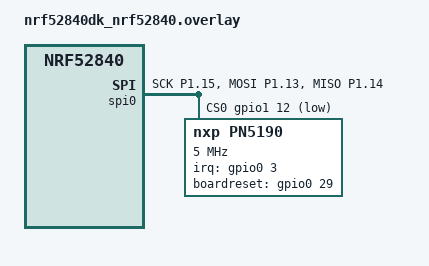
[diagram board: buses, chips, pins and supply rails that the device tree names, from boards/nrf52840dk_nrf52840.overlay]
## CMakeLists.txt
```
#
# Copyright (c) 2021 Nordic Semiconductor ASA
#
# SPDX-License-Identifier: LicenseRef-Nordic-5-Clause
#

cmake_minimum_required(VERSION 3.20.0)

find_package(Zephyr REQUIRED HINTS $ENV{ZEPHYR_BASE})

project(pn5190_nfcreader)
zephyr_include_directories(
   src/inc_example
   src/NxpNfcRdLib/comps/phacDiscLoop/src/Sw
   src/NxpNfcRdLib/intfs
   src/NxpNfcRdLib/types
   src/Platform
   src/RTOS
   src/NxpNfcRdLib/comps/phpalI14443p3a/src/Sw
)
ADD_DEFINITIONS(-DPHDRIVER_nRF52840_PNEV5190B_BOARD)
ADD_DEFINITIONS(-DPH_OSAL_NULLOS)
ADD_DEFINITIONS(-DDEBUG)


FILE(GLOB drv_sources src/*.c
src/NxpNfcRdLib/comps/phacDiscLoop/src/*.c
src/Platform/*.c
src/RTOS/*.c
src/NxpNfcRdLib/comps/phNfcLib/src/*.c
src/NxpNfcRdLib/comps/phKeyStore/src/Sw/*.c
src/NxpNfcRdLib/comps/phhalHw/src/Pn5190/*.c
src/NxpNfcRdLib/comps/phpalI14443p3a/src/Sw/*.c
src/NxpNfcRdLib/comps/phalFelica/src/Sw/*.c
src/NxpNfcRdLib/comps/phacDiscLoop/src/Sw/*.c
src/NxpNfcRdLib/comps/phCryptoSym/src/Sw/*.c
src/NxpNfcRdLib/comps/phpalI14443p3b/src/Sw/*.c
src/NxpNfcRdLib/comps/phalMfc/src/Sw/*.c
src/NxpNfcRdLib/comps//phKeyStore/src/*.c
src/NxpNfcRdLib/comps//phTMIUtils/src/*.c
src/NxpNfcRdLib/comps/phpalI14443p4a/src/Sw/*.c
src/NxpNfcRdLib/comps/phalMful/src/Sw/*.c 
src/NxpNfcRdLib/comps/phCryptoRng/src/Sw/*.c 
src/NxpNfcRdLib/comps/phpalI14443p4/src/Sw/*.c 
src/NxpNfcRdLib/comps/phalMfdf/src/Sw/*.c 
src/NxpNfcRdLib/comps/phCryptoRng/src/*.c 
src/NxpNfcRdLib/comps/phpalMifare/src/Sw/*.c
src/NxpNfcRdLib/comps/phalVca/src/Sw/*.c
src/NxpNfcRdLib/comps/phCryptoSym/src/*.c
src/NxpNfcRdLib/comps/phalMfdfEVx/src/Sw/*.c
src/NxpNfcRdLib/comps/phpalFelica/src/Sw/*.c
src/NxpNfcRdLib/comps/phalVca/src/*.c
src/NxpNfcRdLib/comps/phpalSli15693/src/Sw/*.c
src/NxpNfcRdLib/comps/phalMfdfLight/src/Sw/*.c
src/NxpNfcRdLib/comps/phpalI18000p3m3/src/Sw/*.c
src/NxpNfcRdLib/comps/phalMfpEVx/src/Sw/*.c
src/NxpNfcRdLib/comps/phpalI18092mPI/src/Sw/*.c
src/NxpNfcRdLib/comps/phpalI14443p4mC/src/Sw/*.c
src/NxpNfcRdLib/comps/phpalI18092mT/src/Sw/*.c
src/NxpNfcRdLib/comps/phalMfNtag42XDna/src/Sw/*.c
src/NxpNfcRdLib/comps/phalT1T/src/Sw/*.c
src/NxpNfcRdLib/comps/phalICode/src/Sw/*.c
src/NxpNfcRdLib/comps/phalTop/src/Sw/*.c
src/NxpNfcRdLib/comps/phalI18000p3m3/src/Sw/*.c
src/NxpNfcRdLib/comps/phTools/src/*.c
)




#set(drv_sources ${drv_sources1} ${drv_sources2} ${drv_sources3} ${drv_sources4})
target_sources(app PRIVATE
        ${drv_sources})
```

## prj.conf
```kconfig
CONFIG_MAIN_STACK_SIZE=4096
CONFIG_HEAP_MEM_POOL_SIZE=4096


CONFIG_EVENTS=y
CONFIG_SPI=y
```

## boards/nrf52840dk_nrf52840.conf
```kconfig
# Using hardware crypto accelerator
CONFIG_PSA_CRYPTO_DRIVER_OBERON=n
CONFIG_PSA_CRYPTO_DRIVER_CC3XX=n
```

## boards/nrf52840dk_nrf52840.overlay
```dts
/* Disable unused peripherals to reduce power consumption */
&adc {
	status = "disabled";
};
&uart1 {
	status = "disabled";
};
&i2c0 {
	status = "disabled";
};
&pwm0 {
	status = "disabled";
};
&spi0 {
	compatible = "nordic,nrf-spi";
	status = "okay";
	cs-gpios = <&gpio1 12 GPIO_ACTIVE_LOW>;

	pinctrl-0 = <&spi0_default_alt>;
	pinctrl-1 = <&spi0_sleep_alt>;
	pinctrl-names = "default", "sleep";
	pn5190@0 {
		compatible = "nxp,pn5190";
		reg = <0>;
		spi-max-frequency = <5000000>;
		irq-gpios = <&gpio0 3 (GPIO_ACTIVE_HIGH|GPIO_PULL_UP)>;
		boardreset-gpios = <&gpio0 29 (GPIO_ACTIVE_HIGH|GPIO_PULL_UP)>;
	};
};
&spi1 {
	status = "disabled";
};
&spi3 {
	status = "disabled";
};
&usbd {
	status = "disabled";
};
&pinctrl {
	spi0_default_alt: spi0_default_alt {
		group1 {
			psels = <NRF_PSEL(SPIM_SCK, 1, 15)>,
				<NRF_PSEL(SPIM_MOSI, 1, 13)>,
				<NRF_PSEL(SPIM_MISO, 1, 14)>;
		};
	};

	spi0_sleep_alt: spi0_sleep_alt {
		group1 {
			psels = <NRF_PSEL(SPIM_SCK, 1, 15)>,
				<NRF_PSEL(SPIM_MOSI, 1, 13)>,
				<NRF_PSEL(SPIM_MISO, 1, 14)>;
			low-power-enable;
		};
	};
};
```

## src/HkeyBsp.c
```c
/*****************************************************************************
Copyright (C) 2017-2024, U-Tec.com. All rights reserved
File name: HkeyBsp.c
Description: write here the file function
Author: Joe<joe@u-tec.com>
Date: 04/05/24 11:00:16
*****************************************************************************/

#include <stdint.h>
#include <phDriver.h>
#include "phApp_Init.h"
#include <unistd.h>

#include <ph_Status.h>
#include <phhalHw.h>
#include <phpalI14443p3a.h>
#include <ph_RefDefs.h>
#include <phNxpNfcRdLib_Config.h>
//linux 用反斜杠
#include "phpalI14443p3a_Sw_Int.h"
#include "HKeyBsp.h"
// #include "NxpNfcRdLib\comps\phpalI14443p3a\src\Sw\phpalI14443p3a_Sw_Int.h"
/*=============================================================================
 Defines
 =============================================================================
*/

/*=============================================================================
 Globals
 =============================================================================
*/

/*=============================================================================
 Externs
 =============================================================================
*/
extern void *pspalI14443p4;

/* =============================================================================
 HkeyBsp.c module APIs
 =============================================================================
*/
extern bool DetectIsCpuCard(void);
#define PH_ERR_PN5190_SUCCESS                                ((phStatus_t)0x0000U) 
#define PHHAL_HW_PN5190_INSTR_TRANSMIT_RF_DATA                              0x08U  
typedef struct
{
    uint8_t bCmd;               /**< In_Param - Command code*/
    uint8_t bQueue;             /**< In_Param - Flag to denote that Command is queuable*/
    uint8_t * pTxDataBuff;      /**< In_Param - Pointer to the Tx-Buffer*/
    uint16_t wTxDataLength;     /**< In_Param - No of Bytes in Tx-Buffer */
    uint8_t * pAddnData;        /**< In_Param - Points to additional data to be appended to Tx_Buffer;
                                     applicable for some commands like write eeprom, Exchange_RF_Data*/
    uint16_t wAddnDataLen;      /**< In_Param - Length of the additional data */
    uint8_t ** ppRxBuffer;      /**< InOut_Param - Double pointer to send/retrieve, pointer to RxData in RxBuffer.
                                     For RF data and Read_EEprom response, the pointer to buffer in which data is
                                     to be sent is sent. */
    uint16_t * pRxLength;       /**< Out_Param - Pointer to Rx-length*/
}phhalHw_InstMngr_CmdParams_t;

#define SEND                    0x01U
#define QUEUE                   0x02U
#define QUEUE_N_SEND            0x03U
#define PHHAL_HW_PN5190_INSTR_EXCHANGE_RF_DATA                              0x0AU  /**< Read RX data from internal RF reception buffer. */
#define PHHAL_HW_PN5190_INT_SPI_WRITE                   0x7FU /**< Direction Bit0 -> 0 - Write; 1 - Read. */
phStatus_t phhalHw_Pn5190_Send(
    phhalHw_Pn5190_DataParams_t *pDataParams,       /**< [In] Pointer to Pn5190 Hal layer's parameter structure. */
    uint8_t * pTxBuffer,                            /**< [In] Pointer to Buffer containing data to be sent. */
    uint16_t wTxLength,                             /**< [In] Number of Byte to be sent from the Buffer. */
    uint8_t bCheckIRQ                               /**< [In] Check IRQ status before sending Command to Reader. */
    );

phStatus_t phhalHw_Pn5190_WaitIrq(
    phhalHw_Pn5190_DataParams_t * pDataParams,            /**<[In] DataParameter representing this layer. */
    uint32_t * pReceivedEvents                            /**<[InOut] Return received Events. */
    );
phStatus_t phOsal_EventClear(
    phOsal_Event_t * eventHandle,
    phOsal_EventOpt_t options,
    phOsal_EventBits_t FlagsToClear,
    phOsal_EventBits_t *pCurrFlags);

phStatus_t phhalHw_Pn5190_InstMngr_ReadRsp(
    phhalHw_Pn5190_DataParams_t *pDataParams,       /**< [In] Pointer to Pn5190 Hal layer's parameter structure. */
    phhalHw_InstMngr_CmdParams_t *pCmdParams        /**< [In] Pointer to Current Command Under-Process. */
    );


phStatus_t  phhalHw_Pn5190_InstMngr_Transceive_fast(phhalHw_Pn5190_DataParams_t *pDataParams,
        phhalHw_InstMngr_CmdParams_t *pCmdParams, uint16_t wTlv_Length)
{
    phStatus_t  PH_MEMLOC_REM status = PH_ERR_SUCCESS;
    phOsal_EventBits_t PH_MEMLOC_REM dwReceivedEvents;
    uint8_t     PH_MEMLOC_REM bAbortCMDExe = 0;

    uint16_t    PH_MEMLOC_REM wBuffrdDataLength = 0U;
    uint16_t    PH_MEMLOC_REM wBufferSize = 0U;
    uint8_t     PH_MEMLOC_REM * pTxBuffer = NULL;

    pTxBuffer = pDataParams->pTxBuffer;
    wBufferSize = pDataParams->wTxBufSize;
      

    /* Return stored length. */
    wBuffrdDataLength = pDataParams->wTxBufLen;


    pTxBuffer--;
    *pTxBuffer = PHHAL_HW_PN5190_INT_SPI_WRITE;

    phhalHw_Pn5190_Send(pDataParams, pTxBuffer, (wBuffrdDataLength + 1), PH_ON);
        //printf("Sbuf\n");
    // DEBUG_PRINTF("phhalHw_Pn5190_InstMngr_Transceive_fast 222222222222222");



    // status = phhalHw_Pn5190_InstMngr_SendBuffdData(pDataParams);

    /*Reset the TxBuffer*/
    pDataParams->wTxBufLen = 0U;
    pDataParams->wTxBufStartPos = 0U;

    status = phhalHw_Pn5190_WaitIrq(pDataParams, &dwReceivedEvents);
    phOsal_EventClear(&pDataParams->HwEventObj.EventHandle, E_OS_EVENT_OPT_NONE, E_PH_OSAL_EVT_RF, NULL);
    status = phhalHw_Pn5190_InstMngr_ReadRsp(pDataParams, pCmdParams);
    return status;
}


phStatus_t phhalHw_Pn5190_InstMngr_Exchange_fast(phhalHw_Pn5190_DataParams_t *pDataParams,
        phhalHw_InstMngr_CmdParams_t *pCmdParams, uint8_t bExchAction)
{

    phStatus_t  PH_MEMLOC_REM  status = PH_ERR_SUCCESS;
    uint16_t    PH_MEMLOC_REM  wSnglTLVLenght = 0U;
    uint16_t  PH_MEMLOC_REM  wTxBufferLen = 0U;
    uint16_t  PH_MEMLOC_REM  wTxBufferSize = 0U;
    uint8_t   PH_MEMLOC_REM  * pTxBuffer = NULL;

    uint8_t   PH_MEMLOC_REM  bTxBuffOffset = 0U;
    uint8_t   PH_MEMLOC_REM  bCmd = pCmdParams->bCmd;
    uint8_t   PH_MEMLOC_REM * pData = pCmdParams->pTxDataBuff;
    uint16_t  PH_MEMLOC_REM  wDataLength = pCmdParams->wTxDataLength;

   

    pTxBuffer = pDataParams->pTxBuffer;
    wTxBufferSize = pDataParams->wTxBufSize;
      

    /* Return stored length. */
    wTxBufferLen = pDataParams->wTxBufLen;

    pTxBuffer[pDataParams->wTxBufStartPos++] = bCmd; /* Reserved 0th Location of buffer for Command code */

    bTxBuffOffset = 2;

    //DEBUG_PRINTF("phhalHw_Pn5190_InstMngr_Exchange_fast 444444444444");
    (void)memcpy(&pTxBuffer[pDataParams->wTxBufStartPos + bTxBuffOffset],
                pCmdParams->pAddnData, pCmdParams->wAddnDataLen);

    pDataParams->wTxFwDataLen =  pCmdParams->wAddnDataLen;

    //DEBUG_PRINTF("phhalHw_Pn5190_InstMngr_Exchange_fast 5555555555555");
    (void)memcpy(&pTxBuffer[pDataParams->wTxBufStartPos + pDataParams->wTxBufLen
                            + pDataParams->wTxFwDataLen + bTxBuffOffset],
                pData, wDataLength);

    pDataParams->wTxBufLen += wDataLength;
        

    pDataParams->wTxBufLen += pDataParams->wTxFwDataLen;
    /*In the last we are updating the length*/
    pTxBuffer[pDataParams->wTxBufStartPos++] = ((pDataParams->wTxBufLen & 0xff00U) >> 8);

    pTxBuffer[pDataParams->wTxBufStartPos++] = (pDataParams->wTxBufLen & 0x00ffU);

    /* this is the last packet to add for the RF_EXchange the*/
    pDataParams->wTxBufLen += pDataParams->wTxBufStartPos;

    pDataParams->wTxFwDataLen = 0;

    // DEBUG_PRINTF("phhalHw_Pn5190_InstMngr_Exchange_fast 3333");
    status = phhalHw_Pn5190_InstMngr_Transceive_fast(pDataParams, pCmdParams, wSnglTLVLenght);

    return status;
}

phStatus_t phhalHw_Pn5190_Instr_TransmitRFData_fast(
    phhalHw_Pn5190_DataParams_t * pDataParams,
    uint16_t wOption,
    uint8_t bTxLastBits,
    uint8_t * pTxBuffer,
    uint16_t wTxBufferLength
    )
{
    phStatus_t PH_MEMLOC_REM status = PH_ERR_PN5190_SUCCESS;
    phhalHw_InstMngr_CmdParams_t sCmdParams = {0U};
    uint8_t PH_MEMLOC_REM aAddnBuffer[2] = {0U};
    uint8_t PH_MEMLOC_REM bIndex = 0U;
    uint16_t   PH_MEMLOC_REM wRxLen = 0U;
    uint8_t *  PH_MEMLOC_REM pRxData = NULL;

  
    /* clear internal buffer if requested */
    pDataParams->wTxBufLen = 0U;
    pDataParams->wTxBufStartPos = 0U;
    pDataParams->wTxFwDataLen = 0U;

    pDataParams->bNonRF_Cmd = 0U;
    

    aAddnBuffer[bIndex++] = bTxLastBits;
    aAddnBuffer[bIndex++] = 0;

    sCmdParams.pAddnData = &aAddnBuffer[0];
    sCmdParams.wAddnDataLen = bIndex;

    /* Command Type */
    sCmdParams.bCmd = PHHAL_HW_PN5190_INSTR_TRANSMIT_RF_DATA;

    sCmdParams.bQueue = false;

    sCmdParams.pTxDataBuff = pTxBuffer;
    sCmdParams.wTxDataLength = wTxBufferLength;
    sCmdParams.pRxLength = &wRxLen;
    sCmdParams.ppRxBuffer = &pRxData;

    /* Send command */

    status = phhalHw_Pn5190_InstMngr_Exchange_fast(pDataParams, &sCmdParams, QUEUE_N_SEND);


    return PH_ADD_COMPCODE(status, PH_COMP_HAL);
}
#define PH_ERR_PN5190_TX_FAILURE                                           ((phStatus_t)0x1AU)  

phStatus_t phhalHw_Pn5190_Transmit_fast(
                                   phhalHw_Pn5190_DataParams_t * pDataParams,
                                   uint16_t wOption,
                                   uint8_t * pTxBuffer,
                                   uint16_t wTxLength
                                   )
{
    phStatus_t  PH_MEMLOC_REM status = PH_ERR_SUCCESS;
    phStatus_t  PH_MEMLOC_REM statusTmp;
    uint8_t     PH_MEMLOC_REM bNumberOfValidBits = 0U;
    uint8_t     PH_MEMLOC_REM bSyncByte = 0xf0;
 
    bNumberOfValidBits = (uint8_t)pDataParams->wCfgShadow[PHHAL_HW_CONFIG_TXLASTBITS];


    status =  phhalHw_Pn5190_Instr_TransmitRFData_fast(pDataParams, wOption, bNumberOfValidBits, pTxBuffer, wTxLength);
    /* Reset TxLastBits */
    if (pDataParams->wCfgShadow[PHHAL_HW_CONFIG_TXLASTBITS] != 0)
    {
        PH_CHECK_SUCCESS_FCT(statusTmp, phhalHw_Pn5190_SetConfig(pDataParams, PHHAL_HW_CONFIG_TXLASTBITS, 0x00));
    }


    return PH_ADD_COMPCODE(status, PH_COMP_HAL);
}

static phStatus_t phpalI14443p3a_ECP(phpalI14443p3a_Sw_DataParams_t *pDataParams, uint8_t *ecp_data, int ecp_len)
{
    phStatus_t PH_MEMLOC_REM statusTmp;
    phStatus_t PH_MEMLOC_REM Status;
    uint8_t PH_MEMLOC_REM cmd[1] = {0};
    uint8_t *PH_MEMLOC_REM pResp = NULL;
    uint16_t PH_MEMLOC_REM wRespLength = 0;
    uint16_t PH_MEMLOC_REM wRegister;

    /* Apply Protocol Setting for Type A */
    statusTmp = phhalHw_ApplyProtocolSettings(pHal, PHHAL_HW_CARDTYPE_ISO14443A);
    CHECK_STATUS(statusTmp);

    /* RF Field ON */
    //DEBUG_PRINTF("phpalI14443p3a_ECP 1111");
    statusTmp = phhalHw_FieldOn(pHal);
    if (statusTmp != PH_ERR_SUCCESS)
    {
        statusTmp = phhalHw_Wait(pHal, PHHAL_HW_TIME_MILLISECONDS, 100);
    }
    //获取卡id
    // if(DetectIsCpuCard() == false)
    // {
    //     return PH_ERR_UNKNOWN;
    // }
    //DEBUG_PRINTF("phpalI14443p3a_ECP 2222");
    /* Disable MIFARE Classic contactless IC Crypto1 */
    PH_CHECK_SUCCESS_FCT(statusTmp, phhalHw_SetConfig(
                                        pDataParams->pHalDataParams,
                                        PHHAL_HW_CONFIG_DISABLE_MF_CRYPTO1,
                                        PH_ON));

    /* Reset default data rates */
    PH_CHECK_SUCCESS_FCT(statusTmp, phhalHw_SetConfig(
                                        pDataParams->pHalDataParams,
                                        PHHAL_HW_CONFIG_TXDATARATE_FRAMING,
                                        PHHAL_HW_RF_DATARATE_106));
    PH_CHECK_SUCCESS_FCT(statusTmp, phhalHw_SetConfig(
                                        pDataParams->pHalDataParams,
                                        PHHAL_HW_CONFIG_RXDATARATE_FRAMING,
                                        PHHAL_HW_RF_DATARATE_106));

    /* Set selection timeout */
    PH_CHECK_SUCCESS_FCT(statusTmp, phhalHw_SetConfig(
                                        pDataParams->pHalDataParams,
                                        PHHAL_HW_CONFIG_TIMEOUT_VALUE_US,
                                        PHPAL_I14443P3A_SELECTION_TIME_US + PHPAL_I14443P3A_EXT_TIME_US));

    /* Switch off CRC */
    PH_CHECK_SUCCESS_FCT(statusTmp, phhalHw_SetConfig(pDataParams->pHalDataParams, PHHAL_HW_CONFIG_TXCRC, PH_ON));
    PH_CHECK_SUCCESS_FCT(statusTmp, phhalHw_SetConfig(pDataParams->pHalDataParams, PHHAL_HW_CONFIG_RXCRC, PH_ON));

    /* Only 7 bits are valid */
    PH_CHECK_SUCCESS_FCT(statusTmp, phhalHw_SetConfig(pDataParams->pHalDataParams, PHHAL_HW_CONFIG_TXLASTBITS, 7));
    // printf("debug at %s %d\n",__FILE__,__LINE__);
    for (int i = 0; i < 3; i++)
    {   
        //DEBUG_PRINTF("phpalI14443p3a_ECP 3333 %d", i);
        statusTmp = phhalHw_Pn5190_Transmit_fast(pDataParams->pHalDataParams, PH_TRANSMIT_DEFAULT, ecp_data, ecp_len);
        //phhalHw_Wait(pHal, PHHAL_HW_TIME_MILLISECONDS, 1);
        // DEBUG_PRINTF(" statusTmp %x", statusTmp);
    }

    return PH_ERR_SUCCESS;
}
/**
 * @brief exchange in 14443a
 *
 * @param send
 * @param send_len
 * @param recBuffer
 * @param receiveLen
 * @param timeout
 * @return int
 */
int hkey_bsp_exchange(const uint8_t *send, uint16_t send_len, uint8_t *recBuffer, uint16_t *receiveLen)
{
    uint8_t *pRxData;
    uint16_t wRxDataLength;
    // ESP_LOG_BUFFER_HEX_LEVEL("HKEY send", send, send_len, ESP_LOG_INFO);
    phStatus_t wStatus = phpalI14443p4_Exchange(
        pspalI14443p4,
        PH_EXCHANGE_DEFAULT,
        send,
        send_len,
        &pRxData,
        &wRxDataLength);
     //DEBUG_PRINTF("HKEY status %x\n", wStatus);
    // ESP_LOG_BUFFER_HEX_LEVEL("HKEY ACK", pRxData, wRxDataLength, ESP_LOG_INFO);
    
    memcpy(recBuffer, pRxData, wRxDataLength);
    *receiveLen = wRxDataLength;
    return wStatus == PH_ERR_SUCCESS ? 0 : -1;
}

extern phStatus_t DetectTypeA(void);
extern phStatus_t DetectCpuTypeA2(void);
extern bool DetectCpuTypeA(void);

/**
 * @brief Detect type1 card 
 *
 * @param ecp_data
 * @param ecp_len
 * @return int
 */
int hkey_bsp_send_ecp(uint8_t *ecp_data, int ecp_len)
{
    phStatus_t wStatus = PH_ERR_UNKNOWN;
    //DEBUG_PRINTF("HKEY poll");
    wStatus = phpalI14443p3a_ECP(pspalI14443p4, ecp_data, ecp_len);
    if(wStatus == PH_ERR_UNKNOWN)
    {
        DEBUG_PRINTF("PH_ERR_UNKNOWN");
        return PH_ERR_UNKNOWN;
    }
#if 1
    // it takes time for phone wakeup
    // phhalHw_Wait(pHal, PHHAL_HW_TIME_MILLISECONDS, 200);
    // check phone is wakeup and select
   // DEBUG_PRINTF("HKEY type 11");
    //判断是不是cpu卡
    bool CardStatus = DetectCpuTypeA2();
    if(CardStatus == false)
    {
        wStatus = PH_ERR_UNKNOWN;
    }
    else
    {
        wStatus = PH_ERR_SUCCESS;
    }
#endif
    //DEBUG_PRINTF("wStatus");
    return (wStatus == PH_ERR_SUCCESS) ? 0 : -1;
}
```

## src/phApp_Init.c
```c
/*----------------------------------------------------------------------------*/
/* Copyright 2016-2022 NXP                                                    */
/*                                                                            */
/* NXP Confidential. This software is owned or controlled by NXP and may only */
/* be used strictly in accordance with the applicable license terms.          */
/* By expressly accepting such terms or by downloading, installing,           */
/* activating and/or otherwise using the software, you are agreeing that you  */
/* have read, and that you agree to comply with and are bound by, such        */
/* license terms. If you do not agree to be bound by the applicable license   */
/* terms, then you may not retain, install, activate or otherwise use the     */
/* software.                                                                  */
/*----------------------------------------------------------------------------*/

/** \file
* Example Source abstracting component data structure and code initialization and code specific to HW used in the examples
* This file shall be present in all examples. A customer does not need to touch/modify this file. This file
* purely depends on the phNxpBuild_Lpc.h or phNxpBuild_App.h
* The phAppInit.h externs the component data structures initialized here that is in turn included by the core examples.
* The core example shall not use any other variable defined here except the RdLib component data structures(as explained above)
* The RdLib component initialization requires some user defined data and function pointers.
* These are defined in the respective examples and externed here.
*
* Keystore and Crypto initialization needs to be handled by application.
*
* $Author$
* $Revision$ (v07.10.00)
* $Date$
*
*/

/* Status header */
#include <ph_Status.h>

#include "phApp_Init.h"

/* LLCP header */
#include <phlnLlcp.h>

#include <phOsal.h>

#ifdef PH_PLATFORM_HAS_ICFRONTEND
#include "BoardSelection.h"
#endif

#ifdef PHDRIVER_KINETIS_K82
#include <fsl_port.h>
#include <fsl_pit.h>
#ifdef DEBUG
#include <fsl_clock.h>
#endif /* DEBUG */
#endif /* PHDRIVER_KINETIS_K82 */

#ifdef PHDRIVER_KINETIS_K82
#ifdef DEBUG

#define KINETIS_K82_DEBUG_UART_CLK_FREQ         CLOCK_GetOsc0ErClkFreq()
#define KINETIS_K82_DEBUG_UART_BASEADDR        (uint32_t)(LPUART4)
#define KINETIS_K82_DEBUG_UART_INSTANCE        4U
#define KINETIS_K82_DEBUG_UART_BAUDRATE         115200
#define KINETIS_K82_DEBUG_UART_TYPE             DEBUG_CONSOLE_DEVICE_TYPE_LPUART

#endif /* DEBUG */

/*! @brief Clock configuration structure. */
typedef struct _clock_config
{
    mcg_config_t mcgConfig;       /*!< MCG configuration.      */
    sim_clock_config_t simConfig; /*!< SIM configuration.      */
    osc_config_t oscConfig;       /*!< OSC configuration.      */
    uint32_t coreClock;           /*!< core clock frequency.   */
} clock_config_t;
#endif /* PHDRIVER_KINETIS_K82 */

#ifdef PH_OSAL_LINUX
#    define PI_IRQ_POLLING_TASK_PRIO    0
#    define PI_IRQ_POLLING_TASK_STACK   0x20000
     phOsal_ThreadObj_t gphPiThreadObj;
#endif /* PH_OSAL_LINUX */

#if defined(PHDRIVER_LPC1769) && defined(__CC_ARM)
uint32_t SystemCoreClock;
#endif
/*******************************************************************************
**   Function Declarations
*******************************************************************************/
#ifdef PHDRIVER_KINETIS_K82
static void phApp_K82_Init(void);
#endif /* PHDRIVER_KINETIS_K82 */

#ifdef PH_OSAL_LINUX
static void phExample_IrqPolling(void* param);
#endif /* PH_OSAL_LINUX */

phStatus_t phApp_Configure_IRQ();

/*******************************************************************************
**   Clock configuration of K82 Platform
*******************************************************************************/

#ifdef PHDRIVER_KINETIS_K82
/* Configuration for enter RUN mode. Core clock = 50MHz. */
const clock_config_t g_defaultClockConfigRun = {
    .mcgConfig =
        {
            .mcgMode = kMCG_ModePEE,             /* Work in PEE mode. */
            .irclkEnableMode = kMCG_IrclkEnable, /* MCGIRCLK enable. */
            .ircs = kMCG_IrcSlow,                /* Select IRC32k. */
            .fcrdiv = 0U,                        /* FCRDIV is 0. */

            .frdiv = 4U,
            .drs = kMCG_DrsLow,         /* Low frequency range. */
            .dmx32 = kMCG_Dmx32Default, /* DCO has a default range of 25%. */
            .oscsel = kMCG_OscselOsc,   /* Select OSC. */

            .pll0Config =
                {
                    .enableMode = 0U, .prdiv = 0x01U, .vdiv = 0x01U,
                },
        },
    .simConfig =
        {
            .pllFllSel = 1U,        /* PLLFLLSEL select PLL. */
            .pllFllDiv = 0U,        /* PLLFLLSEL clock divider divisor. */
            .pllFllFrac = 0U,       /* PLLFLLSEL clock divider fraction. */
            .er32kSrc = 5U,         /* ERCLK32K selection, use RTC. */
            .clkdiv1 = 0x01140000U, /* SIM_CLKDIV1. */
        },
    .oscConfig = {.freq = CPU_XTAL_CLK_HZ,
                  .capLoad = 0,
                  .workMode = kOSC_ModeOscLowPower,
                  .oscerConfig =
                      {
                          .enableMode = kOSC_ErClkEnable,
#if (defined(FSL_FEATURE_OSC_HAS_EXT_REF_CLOCK_DIVIDER) && FSL_FEATURE_OSC_HAS_EXT_REF_CLOCK_DIVIDER)
                          .erclkDiv = 0U,
#endif
                      }},

};
#endif /* PHDRIVER_KINETIS_K82 */

/*******************************************************************************
**   Global Variable Declaration
*******************************************************************************/

#ifdef NXPBUILD__PHLN_LLCP_SW
phlnLlcp_Sw_DataParams_t           slnLlcp;            /* LLCP component */
#endif /* NXPBUILD__PHLN_LLCP_SW */

/* General information bytes to be sent with ATR Request */
#if defined(NXPBUILD__PHPAL_I18092MPI_SW) || defined(NXPBUILD__PHPAL_I18092MT_SW)
uint8_t aLLCPGeneralBytes[36] = { 0x46,0x66,0x6D,
                                  0x01,0x01,0x10,       /*VERSION*/
                                  0x03,0x02,0x00,0x01,  /*WKS*/
                                  0x04,0x01,0xF1        /*LTO*/
                                 };
uint8_t   bLLCPGBLength = 13;
#endif

/* ATR Response or ATS Response holder */
#if defined(NXPBUILD__PHPAL_I14443P4A_SW)     || \
    defined(NXPBUILD__PHPAL_I18092MPI_SW)
uint8_t    aResponseHolder[64];
#endif

/* prints if error is detected */
#define CHECK_SUCCESS(x)              \
    if ((x) != PH_ERR_SUCCESS)        \
{                                     \
    DEBUG_PRINTF("\nLine: %d   Error - (0x%04X) has occurred : 0xCCEE CC-Component ID, EE-Error code. Refer-ph_Status.h\n ", __LINE__, (x)); \
    return (x);                       \
}

/*******************************************************************************
**   Function Definitions
*******************************************************************************/
#ifdef PHDRIVER_KINETIS_K82
static void phApp_K82_Init(void)
{
#ifdef DEBUG
    uint32_t uartClkSrcFreq;
#endif /* DEBUG */

    pit_config_t pitConfig;         /* Structure of initialize PIT */

    CLOCK_SetSimSafeDivs();

    CLOCK_InitOsc0(&g_defaultClockConfigRun.oscConfig);
    CLOCK_SetXtal0Freq(CPU_XTAL_CLK_HZ);

    CLOCK_BootToPeeMode(g_defaultClockConfigRun.mcgConfig.oscsel, kMCG_PllClkSelPll0,
        &g_defaultClockConfigRun.mcgConfig.pll0Config);

    CLOCK_SetInternalRefClkConfig(g_defaultClockConfigRun.mcgConfig.irclkEnableMode,
        g_defaultClockConfigRun.mcgConfig.ircs, g_defaultClockConfigRun.mcgConfig.fcrdiv);

    CLOCK_SetSimConfig(&g_defaultClockConfigRun.simConfig);

    SystemCoreClockUpdate();

    /*
     * pitConfig.enableRunInDebug = false;
     */
    PIT_GetDefaultConfig(&pitConfig);

    /* Init pit module */
    PIT_Init(PIT, &pitConfig);

#ifdef DEBUG

    /* Initialize LPUART4 pins below used to Print */
    /* Ungate the port clock */
    CLOCK_EnableClock(kCLOCK_PortC);
    /* Affects PORTC_PCR14 register */
    PORT_SetPinMux(PORTC, 14U, kPORT_MuxAlt3);
    /* Affects PORTC_PCR15 register */
    PORT_SetPinMux(PORTC, 15U, kPORT_MuxAlt3);

    /* SIM_SOPT2[27:26]:
     *  00: Clock Disabled
     *  01: MCGFLLCLK, or MCGPLLCLK, or IRC48M
     *  10: OSCERCLK
     *  11: MCGIRCCLK
     */
    CLOCK_SetLpuartClock(2);

    uartClkSrcFreq = KINETIS_K82_DEBUG_UART_CLK_FREQ;

    DbgConsole_Init(KINETIS_K82_DEBUG_UART_INSTANCE, KINETIS_K82_DEBUG_UART_BAUDRATE, KINETIS_K82_DEBUG_UART_TYPE, uartClkSrcFreq);
#endif /* DEBUG */
}
#endif /* PHDRIVER_KINETIS_K82 */



/*
 * MK Code Addition
 * Board header file for nRF52840 driving PN5190
 * Author: andrew li
 * Date:   16 Jul 2024
 */

#ifdef PHDRIVER_NRF52840

static void phApp_NRF52840_Init(void)
{

     DEBUG_PRINTF("\n phApp_NRF52840_Init\n");

}
#endif /* PHDRIVER_NRF52840 */

/* End of MK Code Addition */


#ifdef PH_PLATFORM_HAS_ICFRONTEND
/**
* This function will initialize Host Controller interfaced with NXP Reader IC's.
* Any initialization which is not generic across Platforms, should be done here.
* Note: For NXP NFC Controllers HOST initialization is not required.
*/
void phApp_CPU_Init(void)
{
#if defined PHDRIVER_KINETIS_K82
    phApp_K82_Init();
/*
 * MK Code Addition
 * Board header file for nRF52840 driving PN5190
 * Author: andrew li
 * Date:   16 Jul 2024
 */
#elif defined(PHDRIVER_NRF52840)
		phApp_NRF52840_Init();
/* End of MK Code Addition */

#elif defined(PHDRIVER_LPC1769) && defined(__CC_ARM)
    SystemCoreClock =  (( unsigned long ) 96000000);
#elif defined(PH_OSAL_LINUX) && defined(NXPBUILD__PHHAL_HW_PN5190)
    phStatus_t  status;
    status = PiGpio_OpenIrq();
    if ((status & PH_ERR_MASK) != PH_ERR_SUCCESS)
    {
        DEBUG_PRINTF("\n PiGpio_OpenIrq failed \n");
        DEBUG_PRINTF("\n Couldn't open PN5190 Kernel IRQ Driver.\n Halting here!!FIX IT!!\n");
        while(1);
    }
#else
    /* In case of LPC series, startup file takes care of initializing clock and ports.
     * No initialization is required in Linux environment. */
#endif
}
#endif /* PH_PLATFORM_HAS_ICFRONTEND */

/**
* This function will initialize Reader LIbrary Component
*/
phStatus_t phApp_Comp_Init(void * pDiscLoopParams)
{
    phStatus_t wStatus = PH_ERR_SUCCESS;
#if defined(NXPBUILD__PHPAL_I18092MPI_SW) || defined(NXPBUILD__PHPAL_I18092MT_SW) || \
    defined(NXPBUILD__PHAC_DISCLOOP_TYPEA_P2P_TAGS) || defined(NXPBUILD__PHAC_DISCLOOP_TYPEA_P2P_ACTIVE) || \
    defined(NXPBUILD__PHAC_DISCLOOP_TYPEA_I3P4_TAGS) || defined(NXPBUILD__PHAC_DISCLOOP_TYPEF_P2P_TAGS) || \
    defined(NXPBUILD__PHAC_DISCLOOP_TYPEF212_P2P_ACTIVE) || defined(NXPBUILD__PHAC_DISCLOOP_TYPEF424_P2P_ACTIVE)

    phacDiscLoop_Sw_DataParams_t * pDiscLoop = (phacDiscLoop_Sw_DataParams_t *)pDiscLoopParams;
#endif

/* Initialize the LLCP component */
#ifdef NXPBUILD__PHLN_LLCP_SW
    slnLlcp.sLocalLMParams.wMiu = 0x00; /* 128 bytes only */
    slnLlcp.sLocalLMParams.wWks = 0x11; /* SNEP & LLCP */
    slnLlcp.sLocalLMParams.bLto = 100; /* Maximum LTO */
    slnLlcp.sLocalLMParams.bOpt = 0x02;
    slnLlcp.sLocalLMParams.bAvailableTlv = PHLN_LLCP_TLV_MIUX_MASK | PHLN_LLCP_TLV_WKS_MASK |
        PHLN_LLCP_TLV_LTO_MASK | PHLN_LLCP_TLV_OPT_MASK;

    wStatus = phlnLlcp_Sw_Init(
        &slnLlcp,
        sizeof(phlnLlcp_Sw_DataParams_t),
        aLLCPGeneralBytes,
        &bLLCPGBLength);
#endif /* NXPBUILD__PHLN_LLCP_SW */

#ifdef NXPBUILD__PHAC_DISCLOOP_SW
#if defined(NXPBUILD__PHPAL_I18092MPI_SW) || defined(NXPBUILD__PHPAL_I18092MT_SW)
    /* Assign the GI for Type A */
    pDiscLoop->sTypeATargetInfo.sTypeA_P2P.pGi       = (uint8_t *)aLLCPGeneralBytes;
    pDiscLoop->sTypeATargetInfo.sTypeA_P2P.bGiLength = bLLCPGBLength;
    /* Assign the GI for Type F */
    pDiscLoop->sTypeFTargetInfo.sTypeF_P2P.pGi       = (uint8_t *)aLLCPGeneralBytes;
    pDiscLoop->sTypeFTargetInfo.sTypeF_P2P.bGiLength = bLLCPGBLength;
#endif

#if defined(NXPBUILD__PHAC_DISCLOOP_TYPEA_P2P_TAGS) || defined(NXPBUILD__PHAC_DISCLOOP_TYPEA_P2P_ACTIVE)
    /* Assign ATR response for Type A */
    pDiscLoop->sTypeATargetInfo.sTypeA_P2P.pAtrRes   = aResponseHolder;
#endif
#if defined(NXPBUILD__PHAC_DISCLOOP_TYPEF_P2P_TAGS) ||  defined(NXPBUILD__PHAC_DISCLOOP_TYPEF212_P2P_ACTIVE) || \
    defined(NXPBUILD__PHAC_DISCLOOP_TYPEF424_P2P_ACTIVE)
    /* Assign ATR response for Type F */
    pDiscLoop->sTypeFTargetInfo.sTypeF_P2P.pAtrRes   = aResponseHolder;
#endif
#ifdef NXPBUILD__PHAC_DISCLOOP_TYPEA_I3P4_TAGS
    /* Assign ATS buffer for Type A */
    pDiscLoop->sTypeATargetInfo.sTypeA_I3P4.pAts     = aResponseHolder;
#endif /* NXPBUILD__PHAC_DISCLOOP_TYPEA_I3P4_TAGS */
#endif /* NXPBUILD__PHAC_DISCLOOP_SW */
    return wStatus;
}

phStatus_t phApp_Configure_IRQ()
{
#ifdef PH_OSAL_LINUX
    phStatus_t  wStatus;
#endif /* PH_OSAL_LINUX */

#ifdef PH_PLATFORM_HAS_ICFRONTEND
#if !(defined(PH_OSAL_LINUX) && defined(NXPBUILD__PHHAL_HW_PN5190))
    phDriver_Pin_Config_t pinCfg;

    pinCfg.bOutputLogic = PH_DRIVER_SET_LOW;
    pinCfg.bPullSelect = PHDRIVER_PIN_IRQ_PULL_CFG;

    pinCfg.eInterruptConfig = PIN_IRQ_TRIGGER_TYPE;
    phDriver_PinConfig(PHDRIVER_PIN_IRQ, PH_DRIVER_PINFUNC_INTERRUPT, &pinCfg);
#endif

#ifdef PHDRIVER_LPC1769
    NVIC_SetPriority(EINT_IRQn, EINT_PRIORITY);
    /* Enable interrupt in the NVIC */
    NVIC_ClearPendingIRQ(EINT_IRQn);
    NVIC_EnableIRQ(EINT_IRQn);
#endif /* PHDRIVER_LPC1769 */

#ifdef PH_OSAL_LINUX

    gphPiThreadObj.pTaskName = (uint8_t *) "IrqPolling";
    gphPiThreadObj.pStackBuffer = NULL;
    gphPiThreadObj.priority = PI_IRQ_POLLING_TASK_PRIO;
    gphPiThreadObj.stackSizeInNum = PI_IRQ_POLLING_TASK_STACK;
    PH_CHECK_SUCCESS_FCT(wStatus, phOsal_ThreadCreate(&gphPiThreadObj.ThreadHandle, &gphPiThreadObj,
        &phExample_IrqPolling, NULL));

#endif /* PH_OSAL_LINUX */

#ifdef PHDRIVER_KINETIS_K82
    NVIC_SetPriority(EINT_IRQn, EINT_PRIORITY);
    NVIC_ClearPendingIRQ(EINT_IRQn);
    EnableIRQ(EINT_IRQn);
#endif /* PHDRIVER_KINETIS_K82 */


/*
 * MK Code Addition
 * Board header file for nRF52840 driving PN5190
 * Author: andrew li
 * Date:   16 Jul 2024
 */

#ifdef PHDRIVER_NRF52840
   // NVIC_SetPriority(EINT_IRQn, EINT_PRIORITY);
   // NVIC_ClearPendingIRQ(EINT_IRQn);
   // EnableIRQ(EINT_IRQn);
#endif /* PHDRIVER_NRF52840 */

/* End of MK Code Addition */




#endif /* #ifdef PH_PLATFORM_HAS_ICFRONTEND */

    return PH_ERR_SUCCESS;
}

#ifdef PH_OSAL_LINUX
/*
 * \brief: The purpose of this Thread is to detect RF signal from an External Peer .
 */
static void phExample_IrqPolling(void* param)
{
    uint8_t bgpioVal = 0;
    uint8_t bhighOrLow = 0;

#if defined(NXPBUILD__PHHAL_HW_RC663) || defined(NXPBUILD__PHHAL_HW_PN5180)
    if(PIN_IRQ_TRIGGER_TYPE ==  PH_DRIVER_INTERRUPT_RISINGEDGE)
    {
        bhighOrLow = 1;
    }

    while(PiGpio_read(PHDRIVER_PIN_IRQ, &bgpioVal) != PH_ERR_SUCCESS)
    {
        PiGpio_unexport(PHDRIVER_PIN_IRQ);
        PiGpio_export(PHDRIVER_PIN_IRQ);
        PiGpio_set_direction(PHDRIVER_PIN_IRQ, false);

        if(PIN_IRQ_TRIGGER_TYPE ==  PH_DRIVER_INTERRUPT_RISINGEDGE)
        {
            PiGpio_set_edge(PHDRIVER_PIN_IRQ, true, false);
        }
        else
        {
            PiGpio_set_edge(PHDRIVER_PIN_IRQ, false, true);
        }
    }

    /* Initial status: If pin is already Active, post an event. */
    if(bgpioVal == bhighOrLow)
    {
        CLIF_IRQHandler();
    }
#endif

    while(1)
    {
        /* Block forever for Raising Edge in PHDRIVER_PIN_IRQ. */
#if defined(NXPBUILD__PHHAL_HW_RC663) || defined(NXPBUILD__PHHAL_HW_PN5180)
        if(PiGpio_poll(PHDRIVER_PIN_IRQ, bhighOrLow, -1) == PH_ERR_SUCCESS)
#elif defined(NXPBUILD__PHHAL_HW_PN5190)
        if(PiGpio_Irq() == PH_ERR_SUCCESS)
#endif
        {
            CLIF_IRQHandler();
        }
        else
        {
            PiGpio_unexport(PHDRIVER_PIN_IRQ);

            PiGpio_export(PHDRIVER_PIN_IRQ);

            PiGpio_set_direction(PHDRIVER_PIN_IRQ, false);

            if(PIN_IRQ_TRIGGER_TYPE ==  PH_DRIVER_INTERRUPT_RISINGEDGE)
            {
                PiGpio_set_edge(PHDRIVER_PIN_IRQ, true, false);
            }
            else
            {
                PiGpio_set_edge(PHDRIVER_PIN_IRQ, false, true);
            }
        }

    }
}
#endif /* PH_OSAL_LINUX */

/******************************************************************************
**                            End Of File
******************************************************************************/
```
